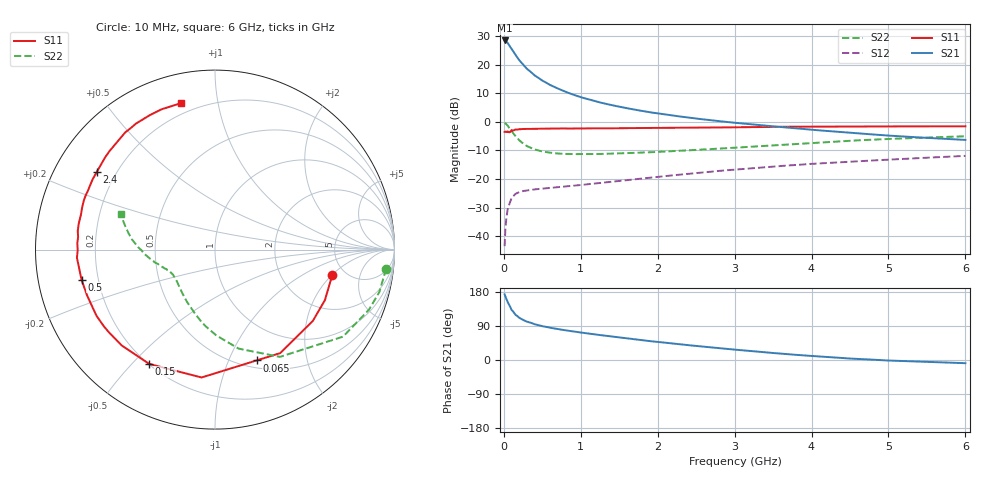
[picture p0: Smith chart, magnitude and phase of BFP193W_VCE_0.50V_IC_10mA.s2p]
! Infineon Technologies  Discrete & RF Semiconductors
! BFP193W
! VCE = 0.50V,  IC =  10 mA
! Common Emitter S-Parameters:  Jan 2016
# GHz  S  MA  R  50
!  f  S11  S21  S12  S22
! GHz  MAG  ANG  MAG  ANG  MAG  ANG  MAG  ANG
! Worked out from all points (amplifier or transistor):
!   210 points, 10 MHz to 6 GHz, reference 50 ohm
!   highest |S21| = 28.5 dB at 10 MHz (marker M1)
!   |S21| within 3 dB of that: start of sweep to 102.9 MHz
!   unconditionally stable (mu >= 1): 1.132 GHz to end of sweep
!   at 185 MHz: K = 0.23, MSG = 23.5 dB, |S12| = -24.7 dB
!   at 1.52 GHz: K = 1.15, MAG = 10.5 dB, |S12| = -20.6 dB
!   at 6 GHz: K = 1.09, MAG = 1.0 dB, |S12| = -11.9 dB
!   S11 on the Smith chart (normalised r, x): 10 MHz: 3.92, -2.04; 65 MHz: 0.58, -1.27; 150 MHz: 0.20, -0.56; 500 MHz: 0.14, -0.11; 2.4 GHz: 0.13, +0.29; 6 GHz: 0.14, +0.79
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0.01  0.6685 -12.4  26.58 173.3  0.0067 83.9  0.9593 -6.4
0.02  0.674 -24.7  26.32 168.2  0.0133 79.1  0.9457 -14.5
0.03  0.6746 -36.1  25.84 162.6  0.019 73.4  0.9209 -21.3
0.05  0.6816 -57.8  24.06 152.1  0.0296 64.3  0.8626 -34.2
0.065  0.6596 -69.4  22.32 147.2  0.0343 57.6  0.7992 -40.5
0.1  0.7165 -96.0  19.07 132.5  0.0464 47.7  0.6986 -58.8
0.15  0.7349 -119.9  14.96 119.6  0.0549 37.9  0.5669 -76.6
0.2  0.7451 -134.2  12.02 111.5  0.0592 32.5  0.4777 -89.2
0.26  0.7524 -145.3  9.699 104.8  0.062 28.7  0.4115 -100.3
0.3  0.7563 -150.9  8.48 101.2  0.0631 27.3  0.3771 -106.7
0.4  0.7573 -160.5  6.516 94.4  0.066 25.7  0.33 -118.3
0.5  0.7622 -167.3  5.283 89.3  0.068 25.8  0.3042 -126.6
0.6  0.7638 -172.3  4.432 85.1  0.07 26.1  0.2895 -133.0
0.7  0.7706 -176.6  3.842 81.7  0.072 27.3  0.2798 -137.6
1.02  0.767 174.2  2.658 72.0  0.0792 31.0  0.2732 -147.2
1.42  0.7723 165.1  1.942 61.4  0.0903 35.1  0.2792 -153.5
2.02  0.782 153.3  1.395 47.3  0.1101 38.9  0.2998 -159.5
2.4  0.7872 146.8  1.186 39.1  0.1235 39.6  0.3186 -163.5
3.1  0.8057 135.2  0.938 25.7  0.1504 38.8  0.3601 -171.3
4.1  0.8287 120.9  0.711 9.3  0.1877 34.7  0.4355 177.1
5.1  0.836 110.0  0.566 -2.1  0.2221 29.7  0.5094 166.4
6  0.8377 102.9  0.484 -8.4  0.2543 25.3  0.5598 159.3
